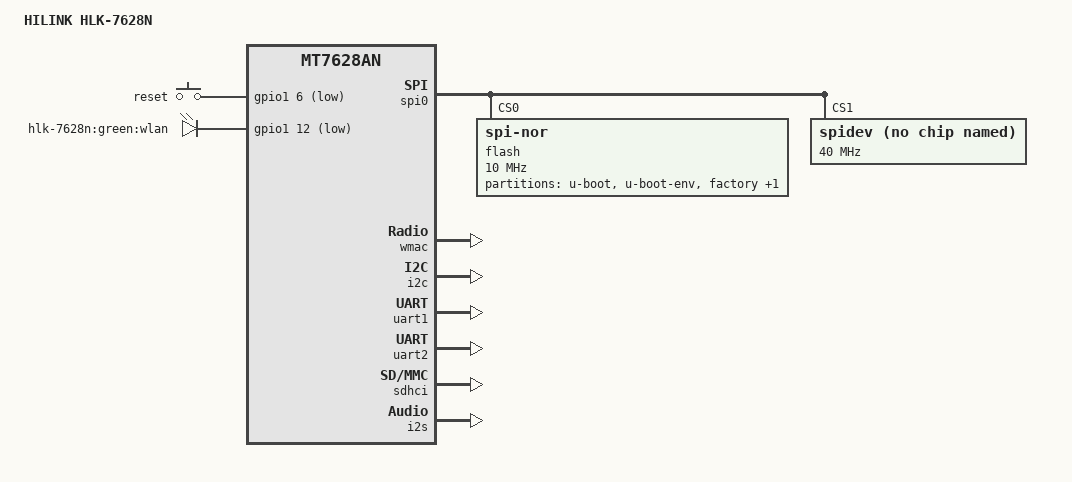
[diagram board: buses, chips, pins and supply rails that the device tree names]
// SPDX-License-Identifier: GPL-2.0-or-later OR MIT
/dts-v1/;

#include "mt7628an.dtsi"

#include <dt-bindings/gpio/gpio.h>
#include <dt-bindings/input/input.h>

/ {
	compatible = "hilink,hlk-7628n", "mediatek,mt7628an-soc";
	model = "HILINK HLK-7628N";

	chosen {
		bootargs = "console=ttyS0,57600";
	};

	keys {
		compatible = "gpio-keys";

		reset {
			label = "reset";
			gpios = <&gpio1 6 GPIO_ACTIVE_LOW>;
			linux,code = <KEY_RESTART>;
		};
	};

	leds {
		compatible = "gpio-leds";

		wlan {
			label = "hlk-7628n:green:wlan";
			gpios = <&gpio1 12 GPIO_ACTIVE_LOW>;
		};
	};

        sound {
                compatible = "simple-audio-card";
                simple-audio-card,name = "Audio-I2S";
                simple-audio-card,format = "i2s";
                simple-audio-card,bitclock-master = <&dailink0_master>;
                simple-audio-card,frame-master = <&dailink0_master>;

                cpu_dai_master: simple-audio-card,cpu {
                        sound-dai = <&i2s>;
                };

                dailink0_master: simple-audio-card,codec {
                        sound-dai = <&codec>;
                };
         };

        codec: pcm5102a {
                #sound-dai-cells = <0>;
                compatible = "ti,pcm5102a";
         };
};

&pinctrl {
	state_default: pinctrl0 {
		gpio {
			ralink,group = "i2c";
			ralink,function = "gpio";
		};

                i2s {
                        ralink,group = "i2s";
                        ralink,function = "i2s";
                };
	};
};

&gpio1 {
        status = "okay";
};

&gpio2 {
        status = "okay";
};

&spi0 {
	status = "okay";

	flash@0 {
		compatible = "jedec,spi-nor";
		reg = <0>;
		spi-max-frequency = <10000000>;

		partitions {
			compatible = "fixed-partitions";
			#address-cells = <1>;
			#size-cells = <1>;

			partition@0 {
				label = "u-boot";
				reg = <0x0 0x30000>;
				read-only;
			};

			partition@30000 {
				label = "u-boot-env";
				reg = <0x30000 0x10000>;
				read-only;
			};

			factory: partition@40000 {
				label = "factory";
				reg = <0x40000 0x10000>;
				read-only;
			};

			partition@50000 {
				compatible = "denx,uimage";
				label = "firmware";
				reg = <0x50000 0x1fb0000>;
			};
		};
	};

        spidev@1 {
                #address-cells = <1>;
                #size-cells = <1>;
                compatible = "linux,spidev";
                reg = <1>;
                spi-max-frequency = <40000000>;
        };

};

&wmac {
	status = "okay";
};

&i2c {
        status = "okay";
};

&uart1 {
        status = "okay";
};

&uart2 {
        status = "okay";
};

&ethernet {
        mtd-mac-address = <&factory 0x28>;
};

&sdhci {
        status = "okay";
        mediatek,cd-low;
};

&gdma {
        status = "okay";
};

&i2s {
        #sound-dai-cells = <0>;
        status = "okay";
};
